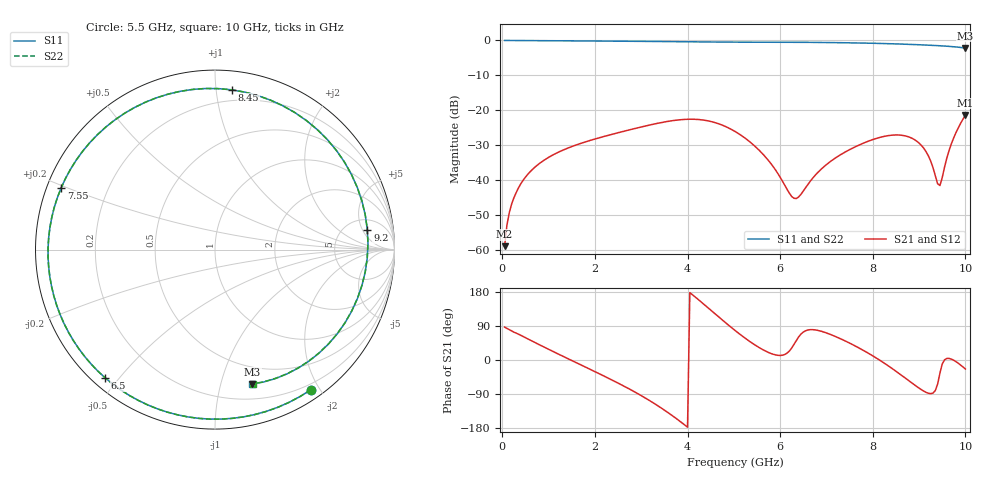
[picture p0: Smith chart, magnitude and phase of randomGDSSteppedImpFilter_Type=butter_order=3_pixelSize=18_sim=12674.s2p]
! freq	dB(S11)	phase(S11)	dB(S12)	phase(S12)
!  dB(S21)	phase(S21)	dB(S22)	phase(S22)
!S-par simulation data
#  GHz  S  DB  R 50
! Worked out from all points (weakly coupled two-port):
!   200 points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, 50 MHz to 10 GHz, reference 50 ohm
!   highest |S21| = -21.36 dB at 10 GHz (marker M1); lowest = -59.0 dB at 50 MHz (marker M2)
!   lowest |S11| = -2.2 dB at 10 GHz (marker M3), VSWR 8.00, Z = 16.6 - j63 ohm
!   |S11| at or under -10 dB: nowhere
!   |S22| runs from -2.2 to 0.0 dB; largest |S21 - S12| = 0
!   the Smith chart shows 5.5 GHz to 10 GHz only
!   S11 on the Smith chart (normalised r, x): 5.5 GHz: 0.13, -1.88; 6.5 GHz: 0.04, -0.46; 7.55 GHz: 0.04, +0.19; 8.45 GHz: 0.12, +1.10; 9.2 GHz: 7.69, +6.29; 10 GHz: 0.33, -1.26
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0.05  -0.00 -3.2  -59.01 86.8  -59.01 86.8  -0.00 -3.2
0.2  -0.02 -12.5  -47.00 76.9  -47.00 76.9  -0.02 -12.5
0.5  -0.04 -31.1  -39.21 58.8  -39.21 58.8  -0.04 -31.1
1.15  -0.09 -70.9  -32.45 19.2  -32.45 19.2  -0.09 -70.9
1.75  -0.14 -107.1  -29.29 -16.0  -29.29 -16.0  -0.14 -107.1
2.65  -0.21 -163.1  -25.96 -70.4  -25.96 -70.4  -0.21 -163.1
3.4  -0.31 142.9  -23.64 -124.1  -23.64 -124.1  -0.31 142.8
3.85  -0.38 104.4  -22.73 -163.0  -22.73 -163.0  -0.38 104.3
4.2  -0.43 71.0  -22.64 162.8  -22.64 162.8  -0.43 70.9
4.65  -0.47 25.3  -23.80 116.1  -23.80 116.1  -0.47 25.2
5.05  -0.48 -14.7  -26.29 75.6  -26.29 75.6  -0.48 -14.7
5.5  -0.48 -55.8  -30.89 36.3  -30.89 36.3  -0.48 -55.7
6.25  -0.51 -113.4  -44.77 31.7  -44.77 31.7  -0.51 -113.3
6.5  -0.53 -130.6  -43.20 73.8  -43.20 73.8  -0.53 -130.4
6.7  -0.55 -144.1  -39.55 80.1  -39.55 80.1  -0.55 -143.8
7.55  -0.69 158.0  -30.98 41.5  -30.98 41.5  -0.69 158.4
8.35  -0.93 93.2  -27.27 -16.7  -27.27 -16.7  -0.92 93.7
8.45  -0.96 83.9  -27.13 -25.3  -27.13 -25.3  -0.96 84.5
9.2  -1.35 7.3  -33.09 -87.8  -33.09 -87.8  -1.35 7.9
9.45  -1.52 -19.2  -41.62 -34.7  -41.62 -34.7  -1.52 -18.7
9.7  -1.75 -45.0  -29.54 2.1  -29.54 2.1  -1.75 -44.6
10  -2.18 -74.6  -21.36 -23.8  -21.36 -23.8  -2.19 -74.3
